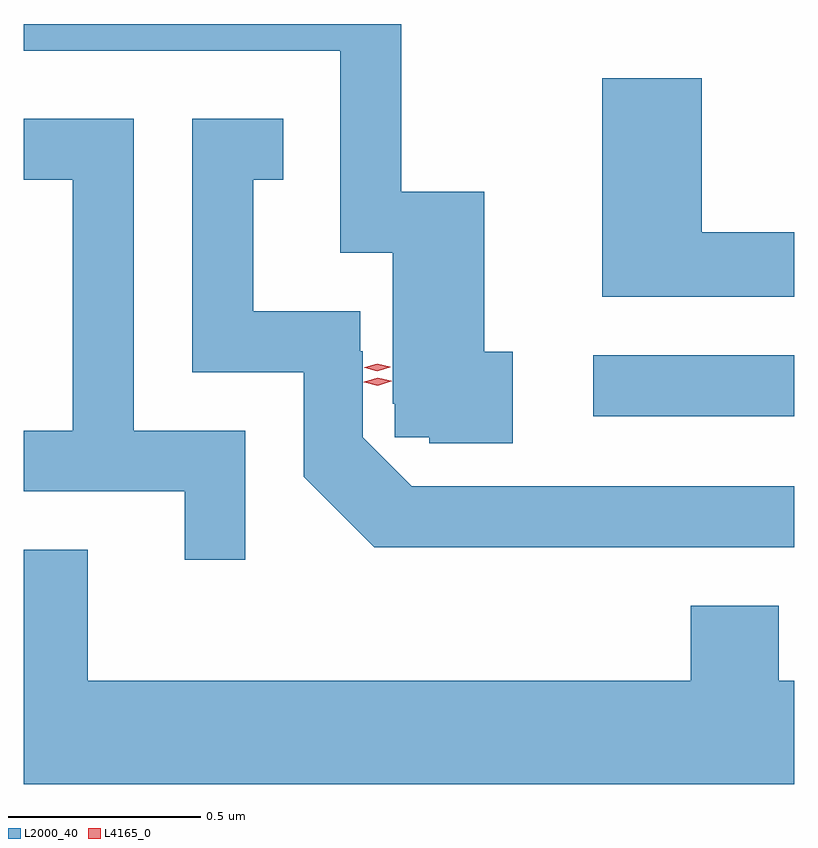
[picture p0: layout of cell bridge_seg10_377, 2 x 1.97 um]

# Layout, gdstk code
import gdstk
lib = gdstk.Library(unit=1e-6, precision=1e-09)
def R(c, l, rs):  # rectangles x0, y0, x1, y1
    for r in rs: c.add(gdstk.rectangle(r[:2], r[2:], *l))
def P(c, l, *ps):  # polygons
    for p in ps: c.add(gdstk.Polygon(p, *l))
L2000_40 = (2000, 40)
L4165_0 = (4165, 0)

bridge_seg10_377 = lib.new_cell('bridge_seg10_377')
R(bridge_seg10_377, L2000_40, [(1096.213,2203.671,1096.734,2203.829)])
P(bridge_seg10_377, L2000_40, [(1096.004,2203.839),(1095.929,2203.839),(1095.929,2204.254),(1095.714,2204.254),(1095.714,2204.69),(1094.734,2204.69),(1094.734,2204.621),(1095.556,2204.621),(1095.556,2204.096),(1095.692,2204.096),(1095.692,2203.704),(1095.697,2203.704),(1095.697,2203.617),(1095.787,2203.617),(1095.787,2203.601),(1096.004,2203.601)],
  [(1096.734,2204.149),(1096.494,2204.149),(1096.494,2204.549),(1096.236,2204.549),(1096.236,2203.981),(1096.734,2203.981)],
  [(1095.309,2203.634),(1095.019,2203.634),(1095.019,2204.444),(1094.734,2204.444),(1094.734,2204.286),(1094.861,2204.286),(1094.861,2203.634),(1094.734,2203.634),(1094.734,2203.476),(1095.151,2203.476),(1095.151,2203.298),(1095.309,2203.298)],
  [(1096.734,2203.489),(1095.741,2203.489),(1095.614,2203.616),(1095.614,2203.84),(1095.608,2203.84),(1095.608,2203.944),(1095.329,2203.944),(1095.329,2204.286),(1095.408,2204.286),(1095.408,2204.444),(1095.171,2204.444),(1095.171,2203.786),(1095.461,2203.786),(1095.461,2203.514),(1095.644,2203.331),(1096.734,2203.331)],
  [(1096.734,2202.984),(1096.694,2202.984),(1096.694,2203.179),(1096.466,2203.179),(1096.466,2202.984),(1094.899,2202.984),(1094.899,2203.324),(1094.734,2203.324),(1094.734,2202.716),(1096.734,2202.716)])
P(bridge_seg10_377, L4165_0, [(1095.653,2203.751),(1095.618,2203.76),(1095.617,2203.76),(1095.618,2203.761),(1095.653,2203.771),(1095.688,2203.763),(1095.689,2203.762),(1095.688,2203.762)],
  [(1095.652,2203.788),(1095.619,2203.797),(1095.618,2203.797),(1095.619,2203.798),(1095.651,2203.808),(1095.685,2203.8),(1095.685,2203.799),(1095.685,2203.799)])

lib.write_gds('bridge_seg10_377.gds')
